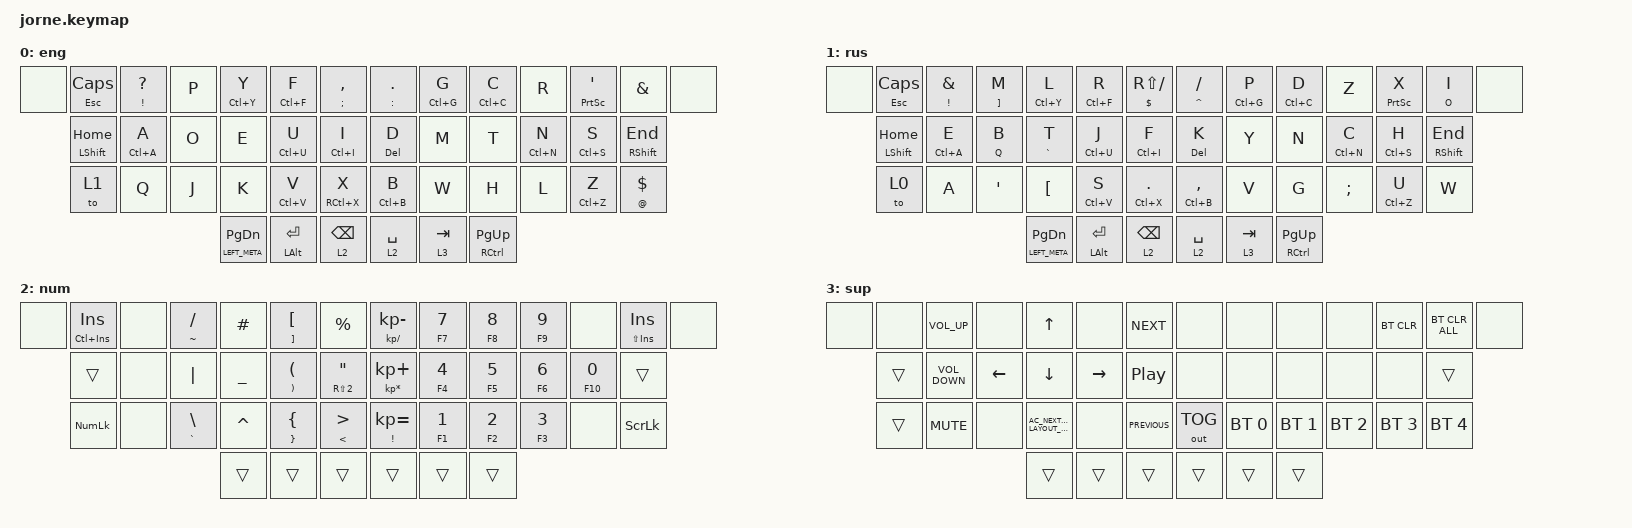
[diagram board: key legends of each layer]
/*
 * Copyright (c) 2020 The ZMK Contributors
 *
 * SPDX-License-Identifier: MIT
 */

#include <behaviors.dtsi>
#include <dt-bindings/zmk/bt.h>
#include <dt-bindings/zmk/keys.h>
#include <dt-bindings/zmk/outputs.h>

/ {
    combos {
        compatible = "zmk,combos";

        combo_game {
            bindings = <&tog 0>;
            key-positions = <38 43>;
            timeout-ms = <200>;
        };

        game_esc {
            bindings = <&kp ESC>;
            key-positions = <2 3>;
        };
    };

    behaviors {
        hml: hml {
            compatible = "zmk,behavior-hold-tap";
            label = "HML";
            bindings = <&kp>, <&kp>;

            #binding-cells = <2>;
            tapping-term-ms = <220>;
            quick-tap-ms = <175>;
            flavor = "balanced";
            require-prior-idle-ms = <100>;
            hold-trigger-key-positions = <7 8 9 10 11 12 13 20 21 22 23 24 25 32 33 34 35 36 37 38 39 40 41 42 43>;
            hold-trigger-on-release;
        };

        hmr: hmr {
            compatible = "zmk,behavior-hold-tap";
            label = "HMR";
            bindings = <&kp>, <&kp>;

            #binding-cells = <2>;
            tapping-term-ms = <220>;
            quick-tap-ms = <175>;
            require-prior-idle-ms = <100>;
            flavor = "balanced";
            hold-trigger-key-positions = <0 1 2 3 4 5 6 14 15 16 17 18 19 26 27 28 29 30 31 38 39 40 41 42 43>;
            hold-trigger-on-release;
        };

        tkl: tkl {
            compatible = "zmk,behavior-hold-tap";
            label = "TKL";
            bindings = <&mo>, <&kp>;

            #binding-cells = <2>;
            tapping-term-ms = <220>;
            quick-tap-ms = <175>;
            flavor = "balanced";
            require-prior-idle-ms = <100>;
            hold-trigger-key-positions = <7 8 9 10 11 12 13 20 21 22 23 24 25 32 33 34 35 36 37 38 39 40 41 42 43>;
            hold-trigger-on-release;
        };

        tkr: tkr {
            compatible = "zmk,behavior-hold-tap";
            label = "TKR";
            bindings = <&mo>, <&kp>;

            #binding-cells = <2>;
            tapping-term-ms = <220>;
            quick-tap-ms = <175>;
            require-prior-idle-ms = <100>;
            flavor = "balanced";
            hold-trigger-key-positions = <0 1 2 3 4 5 6 14 15 16 17 18 19 26 27 28 29 30 31 38 39 40 41 42 43>;
            hold-trigger-on-release;
        };
    };

    keymap {
        compatible = "zmk,keymap";

        eng {
            bindings = <
&none  &hml ESCAPE CAPSLOCK  &hml EXCLAMATION QUESTION  &kp P  &mt LC(Y) Y              &mt LC(F) F         &hml SEMICOLON COMMA    &hmr COLON PERIOD  &mt LC(G) G  &mt LC(C) C                &kp R        &mt PRINTSCREEN SQT  &kp AMPERSAND        &none
       &mt LEFT_SHIFT HOME   &mt LC(A) A                &kp O  &kp E                    &mt LC(U) U         &mt LC(I) I             &mt DELETE D       &kp M        &kp T                      &mt LC(N) N  &mt LC(S) S          &mt RIGHT_SHIFT END
       &to 1                 &kp Q                      &kp J  &kp K                    &mt LC(V) V         &mt RC(X) X             &mt LC(B) B        &kp W        &kp H                      &kp L        &mt LC(Z) Z          &mt AT_SIGN DOLLAR
                                                               &mt LEFT_META PAGE_DOWN  &mt LEFT_ALT ENTER  &tkl 2 BACKSPACE        &tkr 2 SPACE       &tkr 3 TAB   &mt RIGHT_CONTROL PAGE_UP
            >;
        };

        rus {
            bindings = <
&none  &hml ESCAPE CAPSLOCK  &hml EXCLAMATION AMPERSAND  &hml RIGHT_BRACKET M  &mt LC(Y) L               &mt LC(F) R         &hml DOLLAR RS(SLASH)    &hmr CARET SLASH  &mt LC(G) P  &mt LC(C) D                &kp Z          &mt PRINTSCREEN X  &hmr O I             &none
       &mt LEFT_SHIFT HOME   &mt LC(A) E                 &hml Q B              &hml GRAVE T              &mt LC(U) J         &mt LC(I) F              &mt DELETE K      &kp Y        &kp N                      &mt LC(N) C    &mt LC(S) H        &mt RIGHT_SHIFT END
       &to 0                 &kp A                       &kp APOSTROPHE        &kp LEFT_BRACKET          &mt LC(V) S         &mt LC(X) PERIOD         &mt LC(B) COMMA   &kp V        &kp G                      &kp SEMICOLON  &mt LC(Z) U        &kp W
                                                                               &hml LEFT_META PAGE_DOWN  &mt LEFT_ALT ENTER  &tkl 2 BACKSPACE         &tkr 2 SPACE      &tkr 3 TAB   &mt RIGHT_CONTROL PAGE_UP
            >;
        };

        num {
            bindings = <
&none  &mt LC(INSERT) INSERT  &none  &mt TILDE SLASH      &kp HASH   &mt RIGHT_BRACKET LEFT_BRACKET          &kp PERCENT                       &mt KP_SLASH KP_MINUS     &mt F7 NUMBER_7  &mt F8 NUMBER_8  &mt F9 NUMBER_9  &none             &mt LS(INSERT) INSERT  &none
       &trans                 &none  &kp PIPE             &kp UNDER  &mt RIGHT_PARENTHESIS LEFT_PARENTHESIS  &mt RS(NUMBER_2) DOUBLE_QUOTES    &mt KP_MULTIPLY KP_PLUS   &mt F4 NUMBER_4  &mt F5 NUMBER_5  &mt F6 NUMBER_6  &mt F10 NUMBER_0  &trans
       &kp KP_NUMLOCK         &none  &mt GRAVE BACKSLASH  &kp CARET  &mt RIGHT_BRACE LEFT_BRACE              &mt LESS_THAN GREATER_THAN        &mt EXCLAMATION KP_EQUAL  &mt F1 NUMBER_1  &mt F2 NUMBER_2  &mt F3 NUMBER_3  &none             &kp SCROLLLOCK
                                                          &trans     &trans                                  &trans                            &trans                    &trans           &trans
            >;
        };

        sup {
            bindings = <
&none  &none   &kp C_VOLUME_UP    &none     &kp UP                                &none      &kp C_NEXT          &none         &none         &none         &none         &bt BT_CLR    &bt BT_CLR_ALL  &none
       &trans  &kp C_VOLUME_DOWN  &kp LEFT  &kp DOWN                              &kp RIGHT  &kp C_PLAY_PAUSE    &none         &none         &none         &none         &none         &trans
       &trans  &kp K_MUTE         &none     &kp C_AC_NEXT_KEYBOARD_LAYOUT_SELECT  &none      &kp C_PREVIOUS      &out OUT_TOG  &bt BT_SEL 0  &bt BT_SEL 1  &bt BT_SEL 2  &bt BT_SEL 3  &bt BT_SEL 4
                                            &trans                                &trans     &trans              &trans        &trans        &trans
            >;
        };
    };
};
